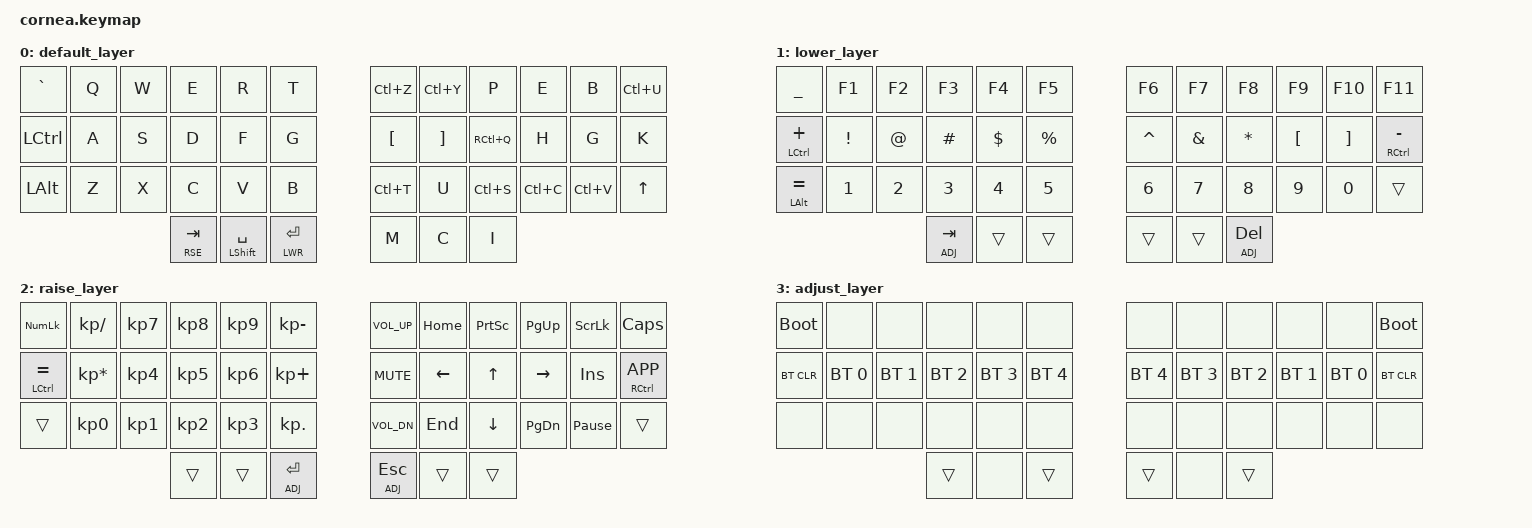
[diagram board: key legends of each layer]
/*
 * Copyright (c) 2021 Rafael Yumagulov
 *
 * SPDX-License-Identifier: MIT
 */

#include <behaviors.dtsi>
#include <dt-bindings/zmk/keys.h>
#include <dt-bindings/zmk/bt.h>

#define DEF 0
#define LWR 1
#define RSE 2
#define ADJ 3

&lt { quick_tap_ms = <200>; };
&mt { quick_tap_ms = <200>; };

/ {
        keymap {
                compatible = "zmk,keymap";

                default_layer {
// -----------------------------------------------------------------------------------------
// |  GUI |   ~  |  Q  |  W  |  E  |  R  |  T  |   |  Y  |  U   |  I  |  O  |  P  |  [   | GUI/] |
//        | CTRL |  A  |  S  |  D  |  F  |  G  |   |  H  |  J   |  K  |  L  |  ;  |CTRL/'|
//        | LALT |  Z  |  X  |  C  |  V  |  B  |   |  N  |  M   |  ,  |  .  |  /  | RALT |
//                           | RSE | SPC | LWR |   | LWR | BKSP | RSE |
                        bindings = <
            &kp GRAVE &kp Q &kp W &kp E &kp R &kp T     &kp LC(Z)     &kp LC(Y) &kp P     &kp E     &kp B     &kp LC(U)
            &kp LCTRL &kp A &kp S &kp D &kp F &kp G     &kp LBKT      &kp RBKT  &kp RC(Q) &kp H     &kp G     &kp K
            &kp LALT  &kp Z &kp X &kp C &kp V &kp B     &kp LC(T)     &kp U     &kp LC(S) &kp LC(C) &kp LC(V) &kp UP
                         &lt RSE TAB &mt LSHFT SPACE &lt LWR RET      &kp M     &kp C     &kp I
                        >;
                };
                lower_layer {
// -----------------------------------------------------------------------------------------
// |     |  _  |  F1 |  F2 |  F3 |  F4 |  F5 |   |  F6 |  F7 |  F8 |  F9 | F10 | F11 | F12 |
//       |  +  |  !  |  @  |  #  |  $  |  %  |   |  ^  |  &  |  *  |  (  |  )  |  -  |
//       |  =  |  1  |  2  |  3  |  4  |  5  |   |  6  |  7  |  8  |  9  |  0  |     |
//                    | GUI |     | SPC |   | ENT |     | ALT |
                        bindings = <
          &kp UNDER      &kp F1   &kp F2 &kp F3   &kp F4   &kp F5           &kp F6    &kp F7   &kp F8   &kp F9   &kp F10  &kp F11
          &mt LCTRL PLUS &kp EXCL &kp AT &kp HASH &kp DLLR &kp PRCNT        &kp CARET &kp AMPS &kp STAR &kp LBKT &kp RBKT &mt RCTRL MINUS
          &mt LALT EQUAL &kp N1   &kp N2 &kp N3   &kp N4   &kp N5           &kp N6    &kp N7   &kp N8   &kp N9   &kp N0   &trans
                                              &lt ADJ TAB &trans &trans   &trans &trans &lt ADJ DEL
                        >;
                };

                raise_layer {
// -----------------------------------------------------------------------------------------
// |     | NMLK |  /  |  7  |  8  |  9  |  -  |   | VOLU| HOME| PRSC| PGUP| SCLK| CLCK|     |
//       | CTRL |  *  |  4  |  5  |  6  |  +  |   | MUT | LEFT|  UP | RGHT| INS | APP |
//       |      |  0  |  1  |  2  |  3  |  .  |   | VOLD| END | DOWN| PGDN| PAUS|     |
//                          |     |     | ADJ |   | ADJ |     |     |
                        bindings = <
          &kp KP_NUM      &kp KP_SLASH    &kp KP_N7 &kp KP_N8 &kp KP_N9 &kp KP_MINUS        &kp C_VOL_UP &kp HOME &kp PSCRN &kp PG_UP &kp SLCK &kp CAPS
          &mt LCTRL EQUAL &kp KP_MULTIPLY &kp KP_N4 &kp KP_N5 &kp KP_N6 &kp KP_PLUS         &kp C_MUTE   &kp LEFT &kp UP    &kp RIGHT &kp INS  &mt RCTRL K_APP
          &trans          &kp KP_N0       &kp KP_N1 &kp KP_N2 &kp KP_N3 &kp KP_DOT          &kp C_VOL_DN &kp END  &kp DOWN  &kp PG_DN &kp PAUSE_BREAK &trans
                                                           &trans &trans &lt ADJ RET   &lt ADJ ESC &trans &trans
                        >;
                };
                adjust_layer {
// -----------------------------------------------------------------------------------------
// | RST | BLDR |     |     |     |     |     |   |     |     |     |     |     | BLDR | RST |
//       | BTCLR| BT0 | BT1 | BT2 | BT3 | BT4 |   | BT4 | BT3 | BT2 | BT1 | BT0 | BTCLR|
//       |      |     |     |     |     |     |   |     |     |     |     |     |      |
//                          |     |     |     |   |     |     |     |
                        bindings = <
          &bootloader  &none        &none        &none        &none        &none              &none        &none        &none        &none        &none         &bootloader
          &bt BT_CLR   &bt BT_SEL 0 &bt BT_SEL 1 &bt BT_SEL 2 &bt BT_SEL 3 &bt BT_SEL 4       &bt BT_SEL 4 &bt BT_SEL 3 &bt BT_SEL 2 &bt BT_SEL 1 &bt BT_SEL 0  &bt BT_CLR
          &none        &none        &none        &none        &none        &none              &none        &none        &none        &none        &none         &none
                                                                    &trans &none &trans   &trans &none &trans
                        >;
                };
        };
};
